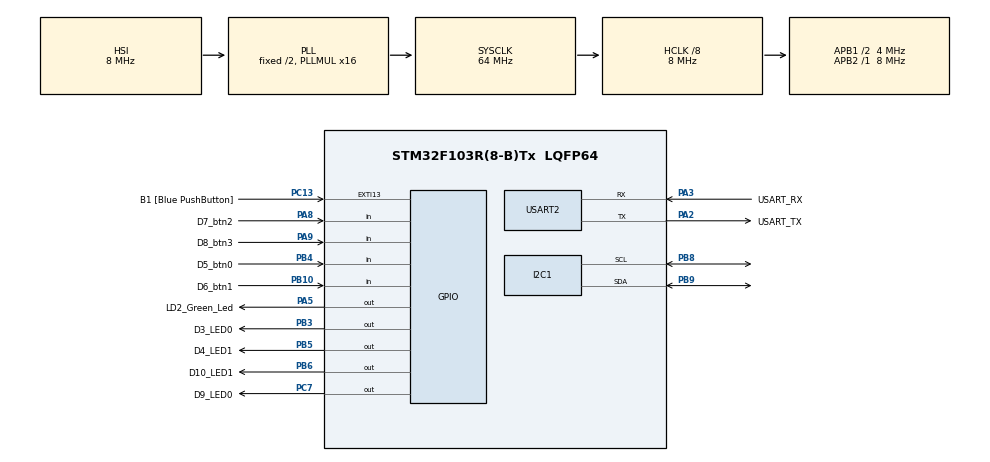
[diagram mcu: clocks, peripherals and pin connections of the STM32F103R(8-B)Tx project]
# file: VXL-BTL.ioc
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Mcu.Family=STM32F1
Mcu.Name=STM32F103R(8-B)Tx
Mcu.Package=LQFP64
NVIC.EXTI15_10_IRQn=true\:0\:0\:false\:false\:true\:true\:true
NVIC.PriorityGroup=NVIC_PRIORITYGROUP_4
NVIC.TIM2_IRQn=true\:0\:0\:false\:false\:true\:true\:true
PA13.GPIO_Label=TMS
PA13.Mode=Serial_Wire
PA13.Signal=SYS_JTMS-SWDIO
PA14.GPIO_Label=TCK
PA14.Mode=Serial_Wire
PA14.Signal=SYS_JTCK-SWCLK
PA2.GPIO_Label=USART_TX
PA2.GPIO_Mode=GPIO_MODE_AF_PP
PA2.GPIO_PuPd=GPIO_NOPULL
PA2.GPIO_Speed=GPIO_SPEED_FREQ_LOW
PA2.Mode=Asynchronous
PA2.Signal=USART2_TX
PA3.GPIO_Label=USART_RX
PA3.GPIO_Mode=GPIO_MODE_AF_PP
PA3.GPIO_PuPd=GPIO_NOPULL
PA3.GPIO_Speed=GPIO_SPEED_FREQ_LOW
PA3.Mode=Asynchronous
PA3.Signal=USART2_RX
PA5.GPIO_Label=LD2_Green_Led
PA5.GPIO_ModeDefaultOutputPP=GPIO_MODE_OUTPUT_PP
PA5.GPIO_PuPd=GPIO_NOPULL
PA5.GPIO_Speed=GPIO_SPEED_FREQ_LOW
PA5.Signal=GPIO_Output
PA8.GPIO_Label=D7_btn2
PA8.GPIO_PuPd=GPIO_PULLUP
PA8.Signal=GPIO_Input
PA9.GPIO_Label=D8_btn3
PA9.GPIO_PuPd=GPIO_PULLUP
PA9.Signal=GPIO_Input
PB10.GPIO_Label=D6_btn1
PB10.GPIO_PuPd=GPIO_PULLUP
PB10.Signal=GPIO_Input
PB3.GPIO_Label=D3_LED0
PB3.Signal=GPIO_Output
PB4.GPIO_Label=D5_btn0
PB4.GPIO_PuPd=GPIO_PULLUP
PB4.Signal=GPIO_Input
PB5.GPIO_Label=D4_LED1
PB5.Signal=GPIO_Output
PB6.GPIO_Label=D10_LED1
PB6.Signal=GPIO_Output
PB8.Mode=I2C
PB8.Signal=I2C1_SCL
PB9.Mode=I2C
PB9.Signal=I2C1_SDA
PC13-TAMPER-RTC.GPIO_Label=B1 [Blue PushButton]
PC13-TAMPER-RTC.GPIO_PuPd=GPIO_NOPULL
PC13-TAMPER-RTC.Signal=GPXTI13
PC14-OSC32_IN.Mode=LSE-External-Oscillator
PC14-OSC32_IN.Signal=RCC_OSC32_IN
PC15-OSC32_OUT.Mode=LSE-External-Oscillator
PC15-OSC32_OUT.Signal=RCC_OSC32_OUT
PC7.GPIO_Label=D9_LED0
PC7.Signal=GPIO_Output
PD0-OSC_IN.Mode=HSE-External-Clock-Source
PD0-OSC_IN.Signal=RCC_OSC_IN
PD1-OSC_OUT.Mode=HSE-External-Clock-Source
PD1-OSC_OUT.Signal=RCC_OSC_OUT
ProjectManager.HeapSize=0x200
ProjectManager.StackSize=0x400
ProjectManager.TargetToolchain=STM32CubeIDE
RCC.AHBCLKDivider=RCC_SYSCLK_DIV8
RCC.AHBFreq_Value=8000000
RCC.APB1CLKDivider=RCC_HCLK_DIV2
RCC.APB1Freq_Value=4000000
RCC.APB1TimFreq_Value=8000000
RCC.APB2Freq_Value=8000000
RCC.APB2TimFreq_Value=8000000
RCC.HCLKFreq_Value=8000000
RCC.PLLMUL=RCC_PLL_MUL16
RCC.RTCClockSelection=RCC_RTCCLKSOURCE_LSE
RCC.SYSCLKFreq_VALUE=64000000
RCC.SYSCLKSource=RCC_SYSCLKSOURCE_PLLCLK
RCC.USBFreq_Value=64000000
TIM2.Period=9
TIM2.Prescaler=7999
USART2.VirtualMode=VM_ASYNC
VP_TIM2_VS_ClockSourceINT.Mode=Internal
board=NUCLEO-F103RB

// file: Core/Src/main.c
/* USER CODE BEGIN Header */
/**
  ******************************************************************************
  * @file           : main.c
  * @brief          : Main program body
  ******************************************************************************
  * @attention
  *
  * <h2><center>&copy; Copyright (c) 2024 STMicroelectronics.
  * All rights reserved.</center></h2>
  *
  * This software component is licensed by ST under BSD 3-Clause license,
  * the "License"; You may not use this file except in compliance with the
  * License. You may obtain a copy of the License at:
  *                        opensource.org/licenses/BSD-3-Clause
  *
  ******************************************************************************
  */
/* USER CODE END Header */
#include "main.h"

/* USER CODE BEGIN Includes */
#include "global.h"
#include "fsm_automatic.h"
#include "fsm_manual.h"
#include "fsm_settings.h"
/* USER CODE END Includes */

I2C_HandleTypeDef hi2c1;

TIM_HandleTypeDef htim2;

UART_HandleTypeDef huart2;

void SystemClock_Config(void);
static void MX_GPIO_Init(void);
static void MX_USART2_UART_Init(void);
static void MX_TIM2_Init(void);
static void MX_I2C1_Init(void);

/* USER CODE BEGIN 0 */
void LEDRED(){
	HAL_GPIO_TogglePin(LD2_Green_Led_GPIO_Port, LD2_Green_Led_Pin);
}
/* USER CODE END 0 */

int main(void)
{

  /* MCU Configuration--------------------------------------------------------*/

  /* Reset of all peripherals, Initializes the Flash interface and the Systick. */
  HAL_Init();

  /* Configure the system clock */
  SystemClock_Config();

  /* Initialize all configured peripherals */
  MX_GPIO_Init();
  MX_USART2_UART_Init();
  MX_TIM2_Init();
  MX_I2C1_Init();
  /* USER CODE BEGIN 2 */
  HAL_TIM_Base_Start_IT(&htim2);
  lcd_init();
  /* USER CODE END 2 */

  /* Infinite loop */
  /* USER CODE BEGIN WHILE */
  SCH_Init();
  SCH_Add_Task(LEDRED,2000,1000); //index0
  SCH_Add_Task(fsm_confirm, 250, 10); //index1
  SCH_Add_Task(getKeyInput, 250, 10); //index2
  SCH_Add_Task(fsm_increase, 250, 10); //index3
  SCH_Add_Task(fsm_mode, 250, 10);
  SCH_Add_Task(fsm_INIT, 10, 0);
  while (1)
  {
	  SCH_Dispatch_Tasks();
    /* USER CODE END WHILE */

  }
}

void SystemClock_Config(void)
{
  RCC_OscInitTypeDef RCC_OscInitStruct = {0};
  RCC_ClkInitTypeDef RCC_ClkInitStruct = {0};

  /** Initializes the RCC Oscillators according to the specified parameters
  * in the RCC_OscInitTypeDef structure.
  */
  RCC_OscInitStruct.OscillatorType = RCC_OSCILLATORTYPE_HSI;
  RCC_OscInitStruct.HSIState = RCC_HSI_ON;
  RCC_OscInitStruct.HSICalibrationValue = RCC_HSICALIBRATION_DEFAULT;
  RCC_OscInitStruct.PLL.PLLState = RCC_PLL_ON;
  RCC_OscInitStruct.PLL.PLLSource = RCC_PLLSOURCE_HSI_DIV2;
  RCC_OscInitStruct.PLL.PLLMUL = RCC_PLL_MUL16;
  if (HAL_RCC_OscConfig(&RCC_OscInitStruct) != HAL_OK)
  {
    Error_Handler();
  }
  /** Initializes the CPU, AHB and APB buses clocks
  */
  RCC_ClkInitStruct.ClockType = RCC_CLOCKTYPE_HCLK|RCC_CLOCKTYPE_SYSCLK
                              |RCC_CLOCKTYPE_PCLK1|RCC_CLOCKTYPE_PCLK2;
  RCC_ClkInitStruct.SYSCLKSource = RCC_SYSCLKSOURCE_PLLCLK;
  RCC_ClkInitStruct.AHBCLKDivider = RCC_SYSCLK_DIV8;
  RCC_ClkInitStruct.APB1CLKDivider = RCC_HCLK_DIV2;
  RCC_ClkInitStruct.APB2CLKDivider = RCC_HCLK_DIV1;

  if (HAL_RCC_ClockConfig(&RCC_ClkInitStruct, FLASH_LATENCY_2) != HAL_OK)
  {
    Error_Handler();
  }
}

static void MX_I2C1_Init(void)
{

  hi2c1.Instance = I2C1;
  hi2c1.Init.ClockSpeed = 100000;
  hi2c1.Init.DutyCycle = I2C_DUTYCYCLE_2;
  hi2c1.Init.OwnAddress1 = 0;
  hi2c1.Init.AddressingMode = I2C_ADDRESSINGMODE_7BIT;
  hi2c1.Init.DualAddressMode = I2C_DUALADDRESS_DISABLE;
  hi2c1.Init.OwnAddress2 = 0;
  hi2c1.Init.GeneralCallMode = I2C_GENERALCALL_DISABLE;
  hi2c1.Init.NoStretchMode = I2C_NOSTRETCH_DISABLE;
  if (HAL_I2C_Init(&hi2c1) != HAL_OK)
  {
    Error_Handler();
  }

}

static void MX_TIM2_Init(void)
{

  TIM_ClockConfigTypeDef sClockSourceConfig = {0};
  TIM_MasterConfigTypeDef sMasterConfig = {0};

  htim2.Instance = TIM2;
  htim2.Init.Prescaler = 7999;
  htim2.Init.CounterMode = TIM_COUNTERMODE_UP;
  htim2.Init.Period = 9;
  htim2.Init.ClockDivision = TIM_CLOCKDIVISION_DIV1;
  htim2.Init.AutoReloadPreload = TIM_AUTORELOAD_PRELOAD_DISABLE;
  if (HAL_TIM_Base_Init(&htim2) != HAL_OK)
  {
    Error_Handler();
  }
  sClockSourceConfig.ClockSource = TIM_CLOCKSOURCE_INTERNAL;
  if (HAL_TIM_ConfigClockSource(&htim2, &sClockSourceConfig) != HAL_OK)
  {
    Error_Handler();
  }
  sMasterConfig.MasterOutputTrigger = TIM_TRGO_RESET;
  sMasterConfig.MasterSlaveMode = TIM_MASTERSLAVEMODE_DISABLE;
  if (HAL_TIMEx_MasterConfigSynchronization(&htim2, &sMasterConfig) != HAL_OK)
  {
    Error_Handler();
  }

}

static void MX_USART2_UART_Init(void)
{

  huart2.Instance = USART2;
  huart2.Init.BaudRate = 115200;
  huart2.Init.WordLength = UART_WORDLENGTH_8B;
  huart2.Init.StopBits = UART_STOPBITS_1;
  huart2.Init.Parity = UART_PARITY_NONE;
  huart2.Init.Mode = UART_MODE_TX_RX;
  huart2.Init.HwFlowCtl = UART_HWCONTROL_NONE;
  huart2.Init.OverSampling = UART_OVERSAMPLING_16;
  if (HAL_UART_Init(&huart2) != HAL_OK)
  {
    Error_Handler();
  }

}

static void MX_GPIO_Init(void)
{
  GPIO_InitTypeDef GPIO_InitStruct = {0};

  /* GPIO Ports Clock Enable */
  __HAL_RCC_GPIOC_CLK_ENABLE();
  __HAL_RCC_GPIOD_CLK_ENABLE();
  __HAL_RCC_GPIOA_CLK_ENABLE();
  __HAL_RCC_GPIOB_CLK_ENABLE();

  /*Configure GPIO pin Output Level */
  HAL_GPIO_WritePin(LD2_Green_Led_GPIO_Port, LD2_Green_Led_Pin, GPIO_PIN_RESET);

  /*Configure GPIO pin Output Level */
  HAL_GPIO_WritePin(D9_LED0_GPIO_Port, D9_LED0_Pin, GPIO_PIN_RESET);

  /*Configure GPIO pin Output Level */
  HAL_GPIO_WritePin(GPIOB, D3_LED0_Pin|D4_LED1_Pin|D10_LED1_Pin, GPIO_PIN_RESET);

  /*Configure GPIO pin : B1_Pin */
  GPIO_InitStruct.Pin = B1_Pin;
  GPIO_InitStruct.Mode = GPIO_MODE_IT_RISING;
  GPIO_InitStruct.Pull = GPIO_NOPULL;
  HAL_GPIO_Init(B1_GPIO_Port, &GPIO_InitStruct);

  /*Configure GPIO pin : LD2_Green_Led_Pin */
  GPIO_InitStruct.Pin = LD2_Green_Led_Pin;
  GPIO_InitStruct.Mode = GPIO_MODE_OUTPUT_PP;
  GPIO_InitStruct.Pull = GPIO_NOPULL;
  GPIO_InitStruct.Speed = GPIO_SPEED_FREQ_LOW;
  HAL_GPIO_Init(LD2_Green_Led_GPIO_Port, &GPIO_InitStruct);

  /*Configure GPIO pins : D6_btn1_Pin D5_btn0_Pin */
  GPIO_InitStruct.Pin = D6_btn1_Pin|D5_btn0_Pin;
  GPIO_InitStruct.Mode = GPIO_MODE_INPUT;
  GPIO_InitStruct.Pull = GPIO_PULLUP;
  HAL_GPIO_Init(GPIOB, &GPIO_InitStruct);

  /*Configure GPIO pin : D9_LED0_Pin */
  GPIO_InitStruct.Pin = D9_LED0_Pin;
  GPIO_InitStruct.Mode = GPIO_MODE_OUTPUT_PP;
  GPIO_InitStruct.Pull = GPIO_NOPULL;
  GPIO_InitStruct.Speed = GPIO_SPEED_FREQ_LOW;
  HAL_GPIO_Init(D9_LED0_GPIO_Port, &GPIO_InitStruct);

  /*Configure GPIO pins : D7_btn2_Pin D8_btn3_Pin */
  GPIO_InitStruct.Pin = D7_btn2_Pin|D8_btn3_Pin;
  GPIO_InitStruct.Mode = GPIO_MODE_INPUT;
  GPIO_InitStruct.Pull = GPIO_PULLUP;
  HAL_GPIO_Init(GPIOA, &GPIO_InitStruct);

  /*Configure GPIO pins : D3_LED0_Pin D4_LED1_Pin D10_LED1_Pin */
  GPIO_InitStruct.Pin = D3_LED0_Pin|D4_LED1_Pin|D10_LED1_Pin;
  GPIO_InitStruct.Mode = GPIO_MODE_OUTPUT_PP;
  GPIO_InitStruct.Pull = GPIO_NOPULL;
  GPIO_InitStruct.Speed = GPIO_SPEED_FREQ_LOW;
  HAL_GPIO_Init(GPIOB, &GPIO_InitStruct);

  /* EXTI interrupt init*/
  HAL_NVIC_SetPriority(EXTI15_10_IRQn, 0, 0);
  HAL_NVIC_EnableIRQ(EXTI15_10_IRQn);

}

/* USER CODE BEGIN 4 */
void HAL_TIM_PeriodElapsedCallback(TIM_HandleTypeDef *htim){
	SCH_Update();
}
/* USER CODE END 4 */

void Error_Handler(void)
{
  __disable_irq();
  while (1)
  {
  }
}

/************************ (C) COPYRIGHT STMicroelectronics *****END OF FILE****/
